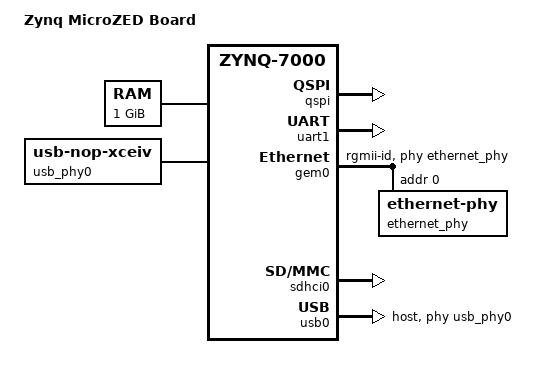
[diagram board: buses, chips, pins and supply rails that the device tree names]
// SPDX-License-Identifier: GPL-2.0+
/*
 * Xilinx MicroZED board DTS
 *
 * Copyright (C) 2013 - 2016 Xilinx, Inc.
 */
/dts-v1/;
#include "zynq-7000.dtsi"

/ {
	model = "Zynq MicroZED Board";
	compatible = "avnet,zynq-microzed", "xlnx,zynq-microzed", "xlnx,zynq-7000";

	aliases {
		serial0 = &uart1;
		spi0 = &qspi;
		mmc0 = &sdhci0;
	};

	memory@0 {
		device_type = "memory";
		reg = <0 0x40000000>;
	};

	chosen {
		bootargs = "earlyprintk";
		stdout-path = "serial0:115200n8";
	};

	usb_phy0: phy0 {
		compatible = "usb-nop-xceiv";
		#phy-cells = <0>;
	};
};

&clkc {
	ps-clk-frequency = <33333333>;
};

&qspi {
	u-boot,dm-pre-reloc;
	status = "okay";
};

&uart1 {
	u-boot,dm-pre-reloc;
	status = "okay";
};

&gem0 {
	status = "okay";
	phy-mode = "rgmii-id";
	phy-handle = <&ethernet_phy>;

	ethernet_phy: ethernet-phy@0 {
		reg = <0>;
	};
};

&sdhci0 {
	u-boot,dm-pre-reloc;
	status = "okay";
};

&usb0 {
	status = "okay";
	dr_mode = "host";
	usb-phy = <&usb_phy0>;
};
